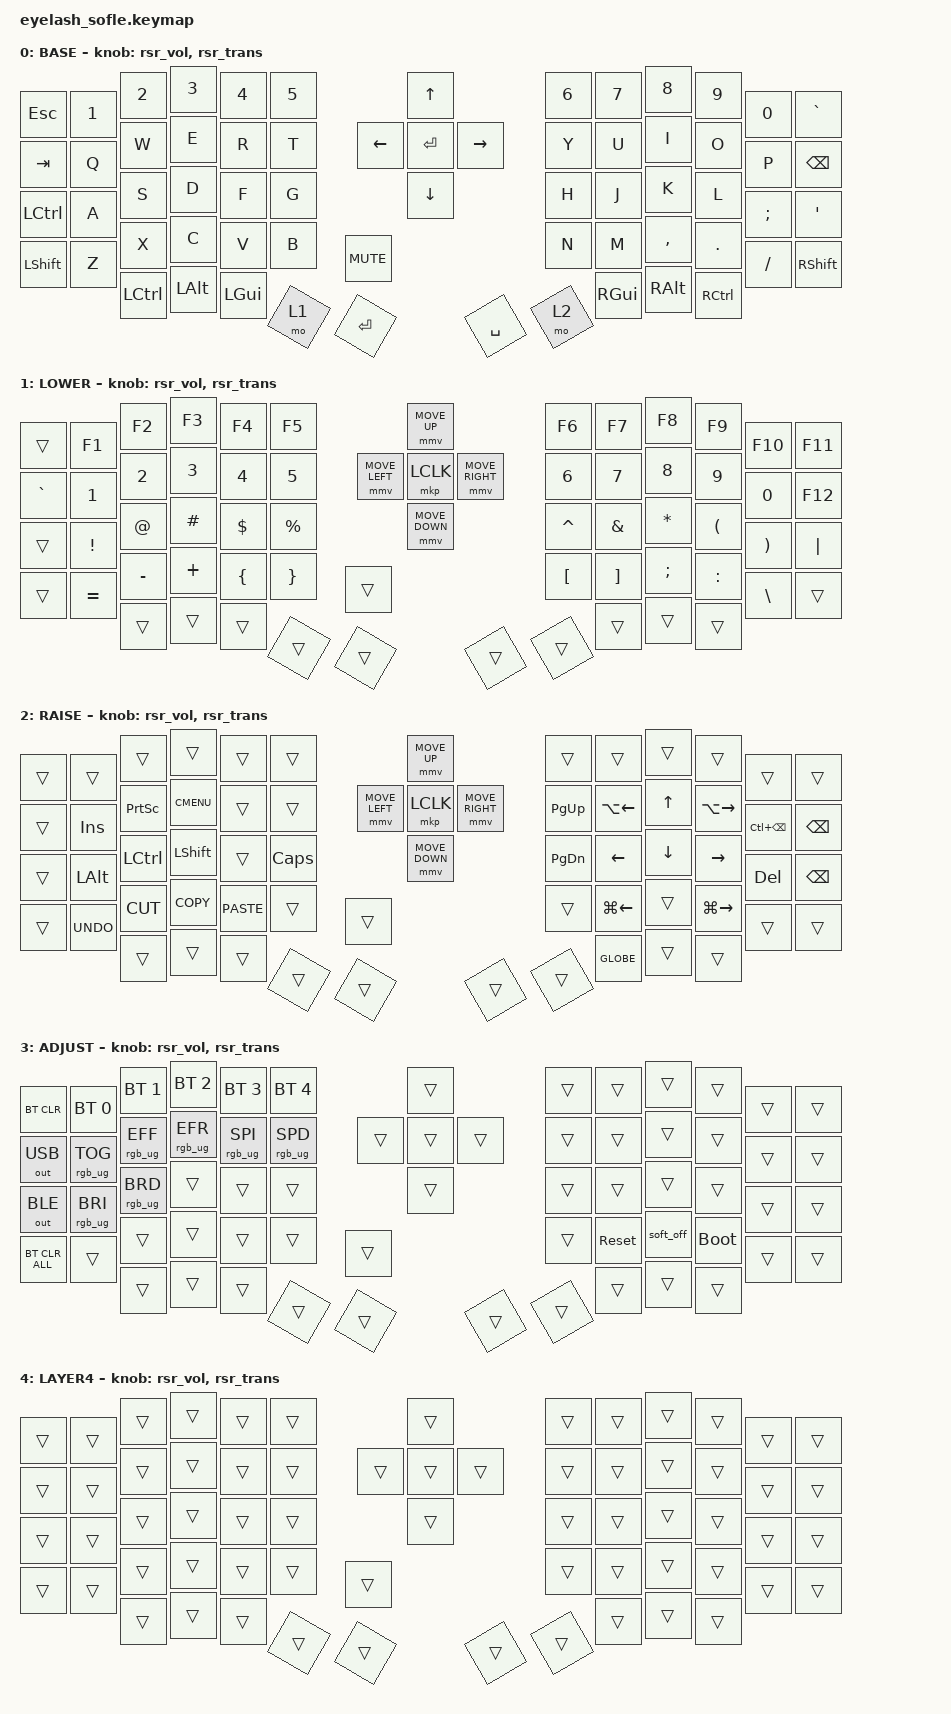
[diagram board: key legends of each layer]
#define ZMK_POINTING_DEFAULT_MOVE_VAL 1200  // 600
#define ZMK_POINTING_DEFAULT_SCRL_VAL 25   // 10

#include <input/processors.dtsi>
#include <zephyr/dt-bindings/input/input-event-codes.h>
#include <behaviors.dtsi>
#include <behaviors/runtime-sensor-rotate.dtsi>
#include <dt-bindings/zmk/bt.h>
#include <dt-bindings/zmk/keys.h>
#include <dt-bindings/zmk/modifiers.h>
#include <dt-bindings/zmk/outputs.h>
#include <dt-bindings/zmk/pointing.h>
#include <dt-bindings/zmk/rgb.h>

&mmv_input_listener { input-processors = <&zip_xy_scaler 2 1>; };

&msc_input_listener { input-processors = <&zip_scroll_scaler 2 1>; };

&msc {
    acceleration-exponent = <1>;      // 0
    time-to-max-speed-ms = <100>;       // 300
    delay-ms = <0>;                   // 0
};

&mmv {
    time-to-max-speed-ms = <500>;
    acceleration-exponent = <1>;
    trigger-period-ms = <16>;
};

&soft_off { hold-time-ms = <2000>; };

/ {
    scroll_encoder: scroll_encoder {
        compatible = "zmk,behavior-sensor-rotate";
        #sensor-binding-cells = <0>;
        bindings = <&msc SCRL_DOWN>, <&msc SCRL_UP>;

        tap-ms = <100>;
    };

    behaviors {
        rsr_vol: rsr_vol {
            compatible = "zmk,behavior-runtime-sensor-rotate";
            #sensor-binding-cells = <0>;
            tap-ms = <5>;
            cw-binding = <&kp C_VOL_UP>;
            ccw-binding = <&kp C_VOL_DN>;
        };

        rsr_trans: rsr_trans {
            compatible = "zmk,behavior-runtime-sensor-rotate";
            #sensor-binding-cells = <0>;
            tap-ms = <0>;
        };
    };

    combos {
        compatible = "zmk,combos";

        softoff {
            bindings = <&soft_off>;
            key-positions = <14 28 40>;
        };
    };

    macros {
        SHIFT_MCLK: SHIFT_MCLK {
            compatible = "zmk,behavior-macro";
            #binding-cells = <0>;
            bindings =
                <&macro_press>,
                <&kp LEFT_SHIFT>,
                <&macro_press>,
                <&mkp MB3>,
                <&macro_pause_for_release>,
                <&macro_release>,
                <&kp LEFT_SHIFT &mkp MB3>;

            label = "SHIFT_MCLK";
        };
    };

    // Hold LOWER + RAISE together -> ADJUST layer (RGB + Bluetooth)
    conditional_layers {
        compatible = "zmk,conditional-layers";
        adjust_layer {
            if-layers = <1 2>;
            then-layer = <3>;
        };
    };

    keymap {
        compatible = "zmk,keymap";

        layer0 {
            // NOTE: The Eyelash Sofle hardware physically transposes the LEFT thumb
            // cluster's binding slots 3/4 (verified via macOS Keyboard Viewer).
            // So the bindings below are deliberately ordered LCTRL, LEFT_GUI,
            // LEFT_ALT — which lands physically as Ctrl, Opt, Cmd (Mac modifier
            // order, outer→inner). Do NOT "fix" this order; swapping the GUI/ALT
            // bindings back would put Command and Option in the wrong spots.
            // See commit 791e271 and boards/shields/eyelash_sofle/
            // eyelash_sofle-layouts.dtsi (drawing positions corrected to match).
            bindings = <
//    ┌──────┬──────┬──────┬──────┬──────┬─────┬──────┬─────┬─────┬──────┬──────┬──────┬──────┐
//    │ esc  │  1   │  2   │  3   │  4   │  5  │  up  │  6  │  7  │  8   │  9   │  0   │  `   │
//    ├──────┼──────┼──────┼──────┼──────┼─────┼──────┼─────┼─────┼──────┼──────┼──────┼──────┤
//    │ tab  │  Q   │  W   │  E   │  R   │  T  │ down │  Y  │  U  │  I   │  O   │  P   │ bspc │
//    ├──────┼──────┼──────┼──────┼──────┼─────┼──────┼─────┼─────┼──────┼──────┼──────┼──────┤
//    │ lctl │  A   │  S   │  D   │  F   │  G  │ left │  H  │  J  │  K   │  L   │  ;   │  '   │
//    ├──────┼──────┼──────┼──────┼──────┼─────┼──────┼─────┼─────┼──────┼──────┼──────┼──────┤
//    │ lsft │  Z   │  X   │  C   │  V   │  B  │ rght │  N  │  M  │  ,   │  .   │  /   │ rsft │
//    ├──────┼──────┼──────┼──────┼──────┼─────┼──────┼─────┼─────┼──────┼──────┼──────┼──────┤
//    │ mute │ lctl │ lgui │ lalt │ mo 1 │ ent │      │ ent │ spc │ mo 2 │ rgui │ ralt │ rctl │
//    └──────┴──────┴──────┴──────┴──────┴─────┘      └─────┴─────┴──────┴──────┴──────┴──────┘
  &kp ESC      &kp N1      &kp N2         &kp N3         &kp N4   &kp N5      &kp UP_ARROW      &kp N6      &kp N7      &kp N8      &kp N9          &kp N0          &kp GRAVE
  &kp TAB      &kp Q       &kp W          &kp E          &kp R    &kp T       &kp DOWN_ARROW    &kp Y       &kp U       &kp I       &kp O           &kp P           &kp BACKSPACE
  &kp LCTRL    &kp A       &kp S          &kp D          &kp F    &kp G       &kp LEFT_ARROW    &kp H       &kp J       &kp K       &kp L           &kp SEMI        &kp APOS
  &kp LSHFT    &kp Z       &kp X          &kp C          &kp V    &kp B       &kp RIGHT_ARROW   &kp N       &kp M       &kp COMMA   &kp DOT         &kp FSLH        &kp RIGHT_SHIFT
  &kp C_MUTE   &kp LCTRL   &kp LEFT_GUI   &kp LEFT_ALT   &mo 1    &kp ENTER                     &kp ENTER   &kp SPACE   &mo 2       &kp RIGHT_GUI   &kp RIGHT_ALT   &kp RCTRL
            >;

            sensor-bindings = <&rsr_vol &rsr_trans>;
            display-name = "BASE";
        };

        layer_1 {
            bindings = <
//    ┌─────┬─────┬─────┬─────┬─────┬─────┬────────────────┬──────┬─────┬─────┬─────┬─────┬─────┐
//    │     │ f1  │ f2  │ f3  │ f4  │ f5  │  &mmv MOVE_up  │  f6  │ f7  │ f8  │ f9  │ f10 │ f11 │
//    ├─────┼─────┼─────┼─────┼─────┼─────┼────────────────┼──────┼─────┼─────┼─────┼─────┼─────┤
//    │  `  │  1  │  2  │  3  │  4  │  5  │ &mmv MOVE_down │  6   │  7  │  8  │  9  │  0  │ f12 │
//    ├─────┼─────┼─────┼─────┼─────┼─────┼────────────────┼──────┼─────┼─────┼─────┼─────┼─────┤
//    │     │  !  │  @  │  #  │  $  │  %  │ &mmv MOVE_left │  ^   │  &  │  *  │  (  │  )  │  |  │
//    ├─────┼─────┼─────┼─────┼─────┼─────┼────────────────┼──────┼─────┼─────┼─────┼─────┼─────┤
//    │     │  =  │  -  │  +  │  {  │  }  │ &mmv MOVE_rght │  [   │  ]  │  ;  │  :  │  \  │     │
//    ├─────┼─────┼─────┼─────┼─────┼─────┼────────────────┼──────┼─────┼─────┼─────┼─────┼─────┤
//    │     │     │     │     │     │     │                │ lclk │     │     │     │     │     │
//    └─────┴─────┴─────┴─────┴─────┴─────┘                └──────┴─────┴─────┴─────┴─────┴─────┘
  &trans      &kp F1      &kp F2      &kp F3     &kp F4     &kp F5      &mmv MOVE_UP      &kp F6             &kp F7              &kp F8      &kp F9      &kp F10    &kp F11
  &kp GRAVE   &kp N1      &kp N2      &kp N3     &kp N4     &kp N5      &mmv MOVE_DOWN    &kp N6             &kp N7              &kp N8      &kp N9      &kp N0     &kp F12
  &trans      &kp EXCL    &kp AT      &kp HASH   &kp DLLR   &kp PRCNT   &mmv MOVE_LEFT    &kp CARET          &kp AMPS            &kp ASTRK   &kp LPAR    &kp RPAR   &kp PIPE
  &trans      &kp EQUAL   &kp MINUS   &kp PLUS   &kp LBRC   &kp RBRC    &mmv MOVE_RIGHT   &kp LEFT_BRACKET   &kp RIGHT_BRACKET   &kp SEMI    &kp COLON   &kp BSLH   &trans
  &trans      &trans      &trans      &trans     &trans     &trans                        &mkp LCLK          &trans              &trans      &trans      &trans     &trans
            >;

            sensor-bindings = <&rsr_vol &rsr_trans>;
            display-name = "LOWER";
        };

        layer_2 {
            bindings = <
//    ┌─────┬──────┬──────┬──────┬─────────┬──────┬────────────────┬──────┬────────────┬──────┬────────────┬────────────┬──────┐
//    │     │      │      │      │         │      │  &mmv MOVE_up  │      │            │      │            │            │      │
//    ├─────┼──────┼──────┼──────┼─────────┼──────┼────────────────┼──────┼────────────┼──────┼────────────┼────────────┼──────┤
//    │     │ ins  │ pscr │ app  │         │      │ &mmv MOVE_down │ pgup │ lalt(left) │  up  │ lalt(rght) │ lctl(bspc) │ bspc │
//    ├─────┼──────┼──────┼──────┼─────────┼──────┼────────────────┼──────┼────────────┼──────┼────────────┼────────────┼──────┤
//    │     │ lalt │ lctl │ lsft │         │ caps │ &mmv MOVE_left │ pgdn │    left    │ down │    rght    │    del     │ bspc │
//    ├─────┼──────┼──────┼──────┼─────────┼──────┼────────────────┼──────┼────────────┼──────┼────────────┼────────────┼──────┤
//    │     │ undo │ cut  │ copy │ K_PASTE │      │ &mmv MOVE_rght │      │ lgui(left) │      │ lgui(rght) │            │      │
//    ├─────┼──────┼──────┼──────┼─────────┼──────┼────────────────┼──────┼────────────┼──────┼────────────┼────────────┼──────┤
//    │     │      │      │      │         │      │                │ lclk │            │      │   GLOBE    │            │      │
//    └─────┴──────┴──────┴──────┴─────────┴──────┘                └──────┴────────────┴──────┴────────────┴────────────┴──────┘
  &trans   &trans         &trans      &trans        &trans        &trans     &mmv MOVE_UP      &trans      &trans         &trans     &trans          &trans              &trans
  &trans   &kp INSERT     &kp PSCRN   &kp K_CMENU   &trans        &trans     &mmv MOVE_DOWN    &kp PG_UP   &kp LA(LEFT)   &kp UP     &kp LA(RIGHT)   &kp LC(BACKSPACE)   &kp BACKSPACE
  &trans   &kp LEFT_ALT   &kp LCTRL   &kp LSHFT     &trans        &kp CLCK   &mmv MOVE_LEFT    &kp PG_DN   &kp LEFT       &kp DOWN   &kp RIGHT       &kp DELETE          &kp BACKSPACE
  &trans   &kp K_UNDO     &kp K_CUT   &kp K_COPY    &kp K_PASTE   &trans     &mmv MOVE_RIGHT   &trans      &kp LG(LEFT)   &trans     &kp LG(RIGHT)   &trans              &trans
  &trans   &trans         &trans      &trans        &trans        &trans                       &mkp LCLK   &trans         &trans     &kp GLOBE       &trans              &trans
            >;

            display-name = "RAISE";
            sensor-bindings = <&rsr_vol &rsr_trans>;
        };

        layer_3 {
            bindings = <
//    ┌────────────┬──────────┬──────────┬──────────┬──────────┬──────────┬─────┬─────┬────────────┬───────────┬──────┬─────┬─────┐
//    │   bt_clr   │ bt_sel 0 │ bt_sel 1 │ bt_sel 2 │ bt_sel 3 │ bt_sel 4 │     │     │            │           │      │     │     │
//    ├────────────┼──────────┼──────────┼──────────┼──────────┼──────────┼─────┼─────┼────────────┼───────────┼──────┼─────┼─────┤
//    │  out_ usb  │ ug_ tog  │ ug_ eff  │ ug_ efr  │ ug_ sp+  │ ug_ sp-  │     │     │            │           │      │     │     │
//    ├────────────┼──────────┼──────────┼──────────┼──────────┼──────────┼─────┼─────┼────────────┼───────────┼──────┼─────┼─────┤
//    │  out_ ble  │ ug_ br+  │ ug_ br-  │          │          │          │     │     │            │           │      │     │     │
//    ├────────────┼──────────┼──────────┼──────────┼──────────┼──────────┼─────┼─────┼────────────┼───────────┼──────┼─────┼─────┤
//    │ bt_clr_ALL │          │          │          │          │          │     │     │ &sys_reset │ &soft_off │ boot │     │     │
//    ├────────────┼──────────┼──────────┼──────────┼──────────┼──────────┼─────┼─────┼────────────┼───────────┼──────┼─────┼─────┤
//    │            │          │          │          │          │          │     │     │            │           │      │     │     │
//    └────────────┴──────────┴──────────┴──────────┴──────────┴──────────┘     └─────┴────────────┴───────────┴──────┴─────┴─────┘
  &bt BT_CLR       &bt BT_SEL 0      &bt BT_SEL 1      &bt BT_SEL 2      &bt BT_SEL 3      &bt BT_SEL 4      &trans   &trans   &trans       &trans      &trans        &trans   &trans
  &out OUT_USB     &rgb_ug RGB_TOG   &rgb_ug RGB_EFF   &rgb_ug RGB_EFR   &rgb_ug RGB_SPI   &rgb_ug RGB_SPD   &trans   &trans   &trans       &trans      &trans        &trans   &trans
  &out OUT_BLE     &rgb_ug RGB_BRI   &rgb_ug RGB_BRD   &trans            &trans            &trans            &trans   &trans   &trans       &trans      &trans        &trans   &trans
  &bt BT_CLR_ALL   &trans            &trans            &trans            &trans            &trans            &trans   &trans   &sys_reset   &soft_off   &bootloader   &trans   &trans
  &trans           &trans            &trans            &trans            &trans            &trans                     &trans   &trans       &trans      &trans        &trans   &trans
            >;

            display-name = "ADJUST";
            sensor-bindings = <&rsr_vol &rsr_trans>;
        };

        layer_4 {
            bindings = <
//    ┌─────┬─────┬─────┬─────┬─────┬─────┬─────┬─────┬─────┬─────┬─────┬─────┬─────┐
//    │     │     │     │     │     │     │     │     │     │     │     │     │     │
//    ├─────┼─────┼─────┼─────┼─────┼─────┼─────┼─────┼─────┼─────┼─────┼─────┼─────┤
//    │     │     │     │     │     │     │     │     │     │     │     │     │     │
//    ├─────┼─────┼─────┼─────┼─────┼─────┼─────┼─────┼─────┼─────┼─────┼─────┼─────┤
//    │     │     │     │     │     │     │     │     │     │     │     │     │     │
//    ├─────┼─────┼─────┼─────┼─────┼─────┼─────┼─────┼─────┼─────┼─────┼─────┼─────┤
//    │     │     │     │     │     │     │     │     │     │     │     │     │     │
//    ├─────┼─────┼─────┼─────┼─────┼─────┼─────┼─────┼─────┼─────┼─────┼─────┼─────┤
//    │     │     │     │     │     │     │     │     │     │     │     │     │     │
//    └─────┴─────┴─────┴─────┴─────┴─────┘     └─────┴─────┴─────┴─────┴─────┴─────┘
  &trans   &trans   &trans   &trans   &trans   &trans   &trans   &trans   &trans   &trans   &trans   &trans   &trans
  &trans   &trans   &trans   &trans   &trans   &trans   &trans   &trans   &trans   &trans   &trans   &trans   &trans
  &trans   &trans   &trans   &trans   &trans   &trans   &trans   &trans   &trans   &trans   &trans   &trans   &trans
  &trans   &trans   &trans   &trans   &trans   &trans   &trans   &trans   &trans   &trans   &trans   &trans   &trans
  &trans   &trans   &trans   &trans   &trans   &trans            &trans   &trans   &trans   &trans   &trans   &trans
            >;

            display-name = "LAYER4";
            sensor-bindings = <&rsr_vol &rsr_trans>;
        };
    };
};
